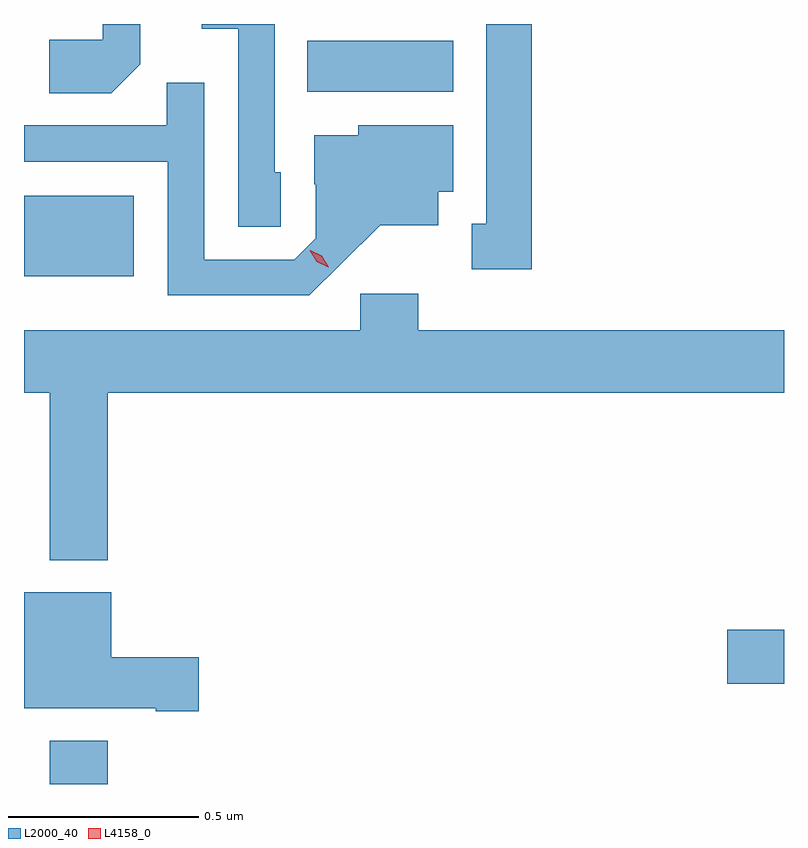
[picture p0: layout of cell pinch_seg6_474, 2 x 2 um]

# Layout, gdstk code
import gdstk
lib = gdstk.Library(unit=1e-6, precision=1e-09)
def R(c, l, rs):  # rectangles x0, y0, x1, y1
    for r in rs: c.add(gdstk.rectangle(r[:2], r[2:], *l))
def P(c, l, *ps):  # polygons
    for p in ps: c.add(gdstk.Polygon(p, *l))
L2000_40 = (2000, 40)
L4158_0 = (4158, 0)

pinch_seg6_474 = lib.new_cell('pinch_seg6_474')
R(pinch_seg6_474, L2000_40, [(759.179,915.67,759.332,915.784), (760.962,915.934,761.111,916.076), (759.111,917.006,759.4,917.218), (759.856,917.492,760.24,917.626)])
P(pinch_seg6_474, L2000_40, [(759.417,917.564),(759.417,917.67),(759.318,917.67),(759.318,917.628),(759.177,917.628),(759.177,917.488),(759.341,917.488)],
  [(760.447,917.67),(760.328,917.67),(760.328,917.145),(760.289,917.145),(760.289,917.025),(760.447,917.025)],
  [(759.786,917.28),(759.771,917.28),(759.771,917.67),(759.579,917.67),(759.579,917.657),(759.675,917.657),(759.675,917.137),(759.786,917.137)],
  [(759.946,917.039),(760.049,917.141),(760.201,917.141),(760.201,917.228),(760.24,917.228),(760.24,917.404),(759.99,917.404),(759.99,917.377),(759.875,917.377),(759.875,917.248),(759.879,917.248),(759.879,917.106),(759.822,917.049),(759.585,917.049),(759.585,917.516),(759.487,917.516),(759.487,917.403),(759.111,917.403),(759.111,917.307),(759.489,917.307),(759.489,916.956),(759.862,916.956)],
  [(759.332,916.7),(761.111,916.7),(761.111,916.864),(760.148,916.864),(760.148,916.96),(759.996,916.96),(759.996,916.864),(759.111,916.864),(759.111,916.7),(759.179,916.7),(759.179,916.259),(759.332,916.259)],
  [(759.571,916.004),(759.34,916.004),(759.34,916.174),(759.111,916.174),(759.111,915.869),(759.458,915.869),(759.458,915.862),(759.571,915.862)])
P(pinch_seg6_474, L4158_0, [(759.912,917.03),(759.881,917.044),(759.863,917.074),(759.863,917.074),(759.864,917.074),(759.895,917.06),(759.913,917.03),(759.913,917.03)])

lib.write_gds('pinch_seg6_474.gds')
